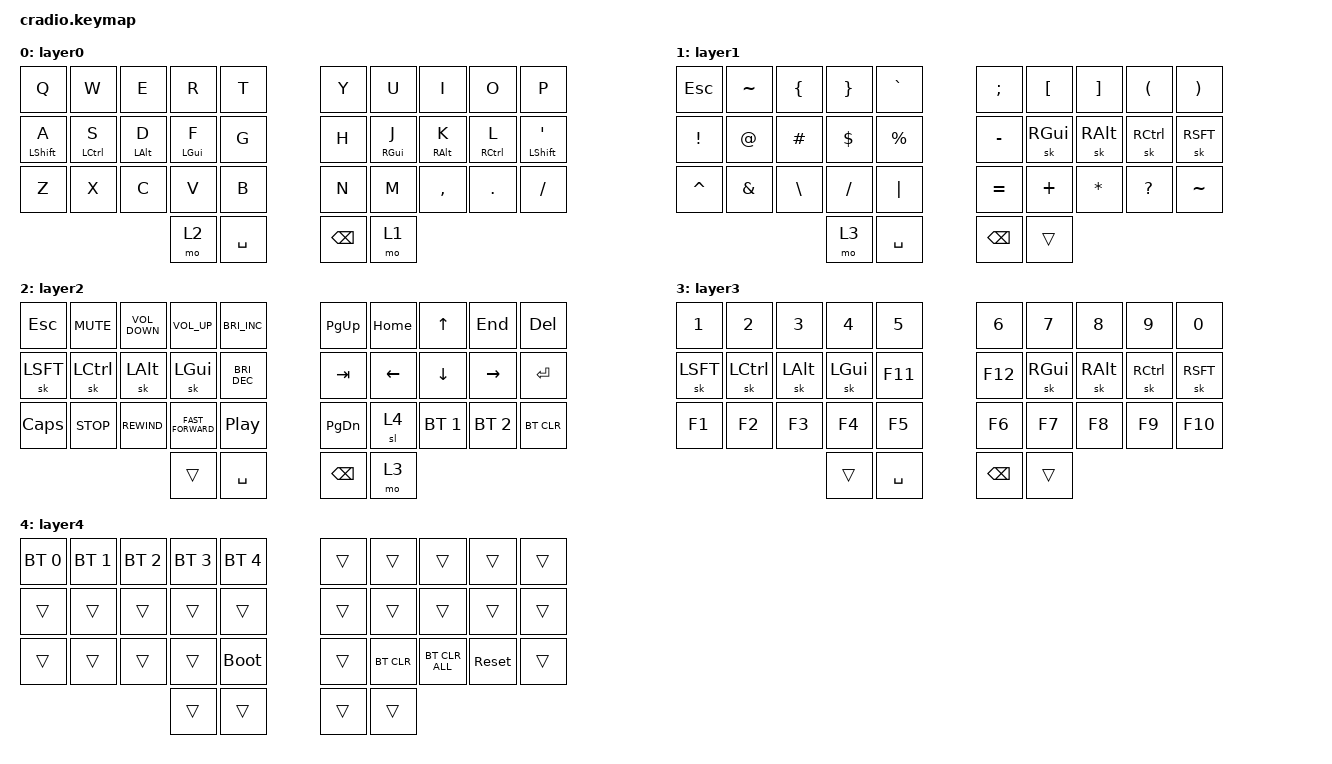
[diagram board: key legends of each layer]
 /*
  * Copyright (c) 2020 The ZMK Contributors
  *
  * SPDX-License-Identifier: MIT
  */

  #include <behaviors.dtsi>
  #include <dt-bindings/zmk/keys.h>
  #include <dt-bindings/zmk/bt.h>
  #include <dt-bindings/zmk/ext_power.h>

  &mt {
    flavor = "tap-preferred";
    tapping_term_ms = <285>;
   };

  / {
    keymap {
      compatible = "zmk,keymap";
  layer0 {
          bindings = <
          &kp Q &kp W &kp E &kp R &kp T                                                     &kp Y &kp U &kp I &kp O &kp P 
          &mt LEFT_SHIFT A &mt LEFT_CONTROL S &mt LEFT_ALT D &mt LEFT_GUI F &kp G           &kp H &mt RIGHT_GUI J &mt RIGHT_ALT K &mt RIGHT_CONTROL L &mt LEFT_SHIFT SINGLE_QUOTE 
          &kp Z &kp X &kp C &kp V &kp B                                                     &kp N &kp M &kp COMMA &kp DOT &kp SLASH 
          &mo 2 &kp SPACE                                                                    &kp BACKSPACE &mo 1
          >;
        };
  layer1 {
          bindings = <
          &kp ESCAPE &kp TILDE &kp LBRC &kp RBRC &kp GRAVE              &kp SEMICOLON &kp LBKT &kp RBKT &kp LPAR &kp RPAR 
          &kp EXCL &kp AT &kp HASH &kp DLLR &kp PERCENT                 &kp MINUS &sk RGUI &sk RALT &sk RCTL &sk RSFT 
          &kp CARET &kp AMPS &kp BACKSLASH &kp SLASH &kp PIPE           &kp EQUAL &kp PLUS &kp ASTRK &kp QUESTION &kp TILDE 
          &mo 3 &kp SPACE                                               &kp BACKSPACE &trans
          >;
        };
  layer2 {
          bindings = <
          &kp ESCAPE &kp C_MUTE &kp C_VOLUME_DOWN &kp C_VOLUME_UP &kp C_BRI_INC         &kp PAGE_UP &kp HOME &kp UP &kp END &kp DELETE 
          &sk LSFT &sk LCTL &sk LALT &sk LGUI &kp C_BRI_DEC                             &kp TAB &kp LEFT &kp DOWN &kp RIGHT &kp ENTER 
          &kp CAPSLOCK &kp C_STOP &kp C_REWIND &kp C_FAST_FORWARD &kp C_PLAY_PAUSE      &kp PAGE_DOWN &sl 4 &bt BT_SEL 1 &bt BT_SEL 2 &bt BT_CLR 
          &trans &kp SPACE                                                              &kp BACKSPACE &mo 3
          >;
        };
  layer3 {
          bindings = <
          &kp N1 &kp N2 &kp N3 &kp N4 &kp N5                &kp N6 &kp N7 &kp N8 &kp N9 &kp N0 
          &sk LSFT &sk LCTL &sk LALT &sk LGUI &kp F11       &kp F12 &sk RGUI &sk RALT &sk RCTL &sk RSFT 
          &kp F1 &kp F2 &kp F3 &kp F4 &kp F5                &kp F6 &kp F7 &kp F8 &kp F9 &kp F10 
          &trans &kp SPACE                                  &kp BACKSPACE &trans
          >;
        };
  layer4 {
          bindings = <
          &bt BT_SEL 0 &bt BT_SEL 1 &bt BT_SEL 2 &bt BT_SEL 3 &bt BT_SEL 4              &trans &trans &trans &trans &trans 
          &trans &trans &trans &trans &trans                                               &trans &trans &trans &trans &trans 
          &trans &trans &trans &trans &bootloader                                          &trans &bt BT_CLR &bt BT_CLR_ALL &sys_reset &trans 
          &trans &trans                                                                   &trans &trans
          >;
        };
    };
  };
